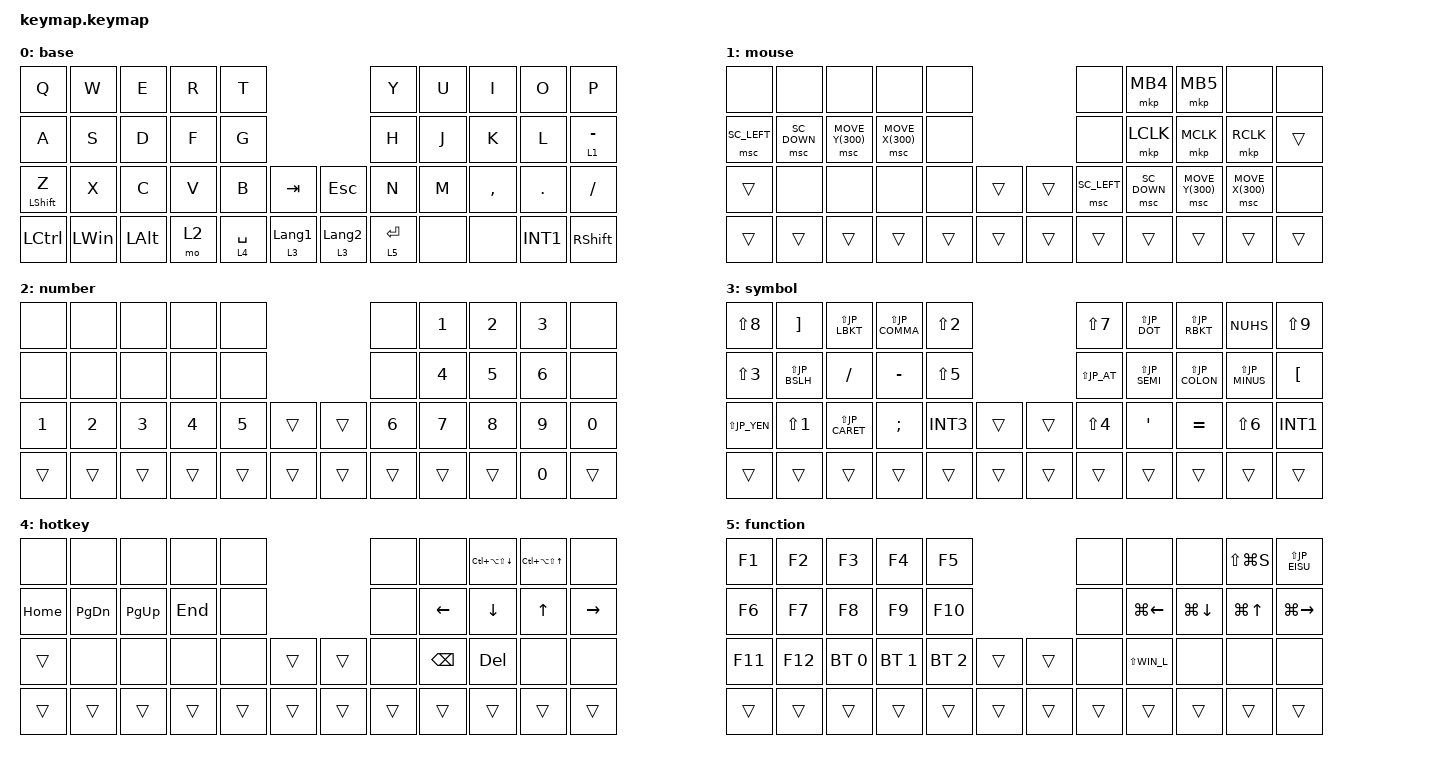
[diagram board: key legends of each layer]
#define JP_ZKHK  GRAVE        // Zenkaku ↔ Hankaku ↔ Kanji (半角 ↔ 全角 ↔ 漢字)
#define JP_MINUS MINUS        // -
#define JP_CARET EQUAL        // ^
#define JP_YEN   INT3         // ¥
#define JP_AT    LBKT         // @
#define JP_LBKT  RBKT         // [
#define JP_EISU  CAPS         // Eisū (英数)
#define JP_SEMI  SEMI         // ;
#define JP_COLON SQT          // :
#define JP_RBKT  NUHS         // ]
#define JP_COMMA COMMA        // ,
#define JP_DOT   DOT          // .
#define JP_SLASH SLASH        // /
#define JP_BSLH  INT1         // (backslash)
#define JP_MHEN  INT5         // Muhenkan (無変換)
#define JP_HENK  INT4         // Henkan (変換)
#define JP_KANA  INT2         // Katakana ↔ Hiragana ↔ Rōmaji (カタカナ ↔ ひらがな ↔ ローマ字)
#define JP_EXCL  LS(N1)       // !
#define JP_DQT   LS(N2)       // "
#define JP_HASH  LS(N3)       // #
#define JP_DLLR  LS(N4)       // $
#define JP_PRCNT LS(N5)       // %
#define JP_AMPS  LS(N6)       // &
#define JP_SQT   LS(N7)       // '
#define JP_LPAR  LS(N8)       // (
#define JP_RPAR  LS(N9)       // )
#define JP_EQUAL LS(JP_MINUS) // =
#define JP_TILDE LS(JP_CARET) // ~
#define JP_PIPE  LS(JP_YEN)   // |
#define JP_GRAVE LS(JP_AT)    // `
#define JP_LBRC  LS(JP_LBKT)  // {
#define JP_CAPS  LS(JP_EISU)  // Caps Lock
#define JP_PLUS  LS(JP_SEMI)  // +
#define JP_ASTRK LS(JP_COLON) // *
#define JP_RBRC  LS(JP_RBKT)  // }
#define JP_LT    LS(JP_COMMA) // <
#define JP_RT    LS(JP_DOT)   // >
#define JP_QMARK LS(JP_SLASH) // ?
#define JP_UNDER LS(JP_BSLH)  // _

#define SC_UP    MOVE_Y(300)
#define SC_DOWN  MOVE_Y(-300)
#define SC_RIGHT MOVE_X(300)
#define SC_LEFT  MOVE_X(-300)
#define MULCR_UP LC(LA(LS(UP)))
#define MULCR_DN LC(LA(LS(DOWN)))
#define WIN_L    LG(LEFT)
#define WIN_D    LG(DOWN)
#define WIN_U    LG(UP)
#define WIN_R    LG(RIGHT)
#define MOVE_WIN LS(WIN_L)
#define PRTSC    LS(LG(S))
#define LANG_JP  LANGUAGE_1
#define LANG_EN  LANGUAGE_2

#include <behaviors.dtsi>
#include <dt-bindings/zmk/bt.h>
#include <dt-bindings/zmk/keys.h>
#include <dt-bindings/zmk/pointing.h>

/ {
    behaviors {
        ls: ls {
            compatible = "zmk,behavior-hold-tap";
            #binding-cells = <2>;
            tapping-term-ms = <200>;
            quick-tap-ms = <125>;
            flavor = "tap-preferred";
            bindings = <&kp>, <&kp>;
        };
    };

    combos {
        compatible = "zmk,combos";

        right_finger_12 {
            timeout-ms = <50>;
            require-prior-idle-ms = <125>;
            key-positions = <16 17>;
            bindings = <&mkp LCLK>;
        };

        right_finger_34 {
            timeout-ms = <50>;
            require-prior-idle-ms = <125>;
            key-positions = <18 19>;
            bindings = <&mkp RCLK>;
        };

        // Bluetooth Clear
        bt_clear {
            timeout-ms = <50>;
            key-positions = <24 23 22>;
            bindings = <&bt BT_CLR>;
        };

    };

    keymap {
        compatible = "zmk,keymap";

        base {bindings = <
&kp Q         &kp W         &kp E         &kp R          &kp T                                       &kp Y         &kp U         &kp I         &kp O          &kp P
&kp A         &kp S         &kp D         &kp F          &kp G                                       &kp H         &kp J         &kp K         &kp L          &lt 1 JP_MINUS
&ls LSHFT Z   &kp X         &kp C         &kp V          &kp B         &kp TAB        &kp ESC        &kp N         &kp M         &kp JP_COMMA  &kp JP_DOT     &kp JP_SLASH
&kp LCTRL     &kp LWIN      &kp LALT      &mo 2          &lt 4 SPACE   &lt 3 LANG_JP  &lt 3 LANG_EN  &lt 5 ENTER   &none         &none         &kp JP_BSLH    &kp RSHFT    >;};

mouse {bindings = <
&none         &none         &none         &none          &none                                       &none         &mkp MB4      &mkp MB5      &none          &none 
&msc SC_LEFT  &msc SC_DOWN  &msc SC_UP    &msc SC_RIGHT  &none                                       &none         &mkp LCLK     &mkp MCLK     &mkp RCLK      &trans
&trans        &none         &none         &none          &none         &trans         &trans         &msc SC_LEFT  &msc SC_DOWN  &msc SC_UP    &msc SC_RIGHT  &none 
&trans        &trans        &trans        &trans         &trans        &trans         &trans         &trans        &trans        &trans        &trans         &trans       >;};

number {bindings = <
&none         &none         &none         &none          &none                                       &none         &kp N1        &kp N2        &kp N3         &none 
&none         &none         &none         &none          &none                                       &none         &kp N4        &kp N5        &kp N6         &none 
&kp N1        &kp N2        &kp N3        &kp N4         &kp N5        &trans         &trans         &kp N6        &kp N7        &kp N8        &kp N9         &kp N0
&trans        &trans        &trans        &trans         &trans        &trans         &trans         &trans        &trans        &trans        &kp N0         &trans       >;};

symbol {bindings = <
&kp JP_LPAR   &kp JP_LBKT   &kp JP_LBRC   &kp JP_LT      &kp JP_DQT                                  &kp JP_SQT    &kp JP_RT     &kp JP_RBRC   &kp JP_RBKT    &kp JP_RPAR
&kp JP_HASH   &kp JP_UNDER  &kp JP_SLASH  &kp JP_MINUS   &kp JP_PRCNT                                &kp JP_GRAVE  &kp JP_PLUS   &kp JP_ASTRK  &kp JP_EQUAL   &kp JP_AT
&kp JP_PIPE   &kp JP_EXCL   &kp JP_TILDE  &kp JP_SEMI    &kp JP_YEN    &trans         &trans         &kp JP_DLLR   &kp JP_COLON  &kp JP_CARET  &kp JP_AMPS    &kp JP_BSLH
&trans        &trans        &trans        &trans         &trans        &trans         &trans         &trans        &trans        &trans        &trans         &trans       >;};

hotkey {bindings = <
&none         &none         &none         &none          &none                                       &none         &none         &kp MULCR_DN  &kp MULCR_UP   &none 
&kp HOME      &kp PG_DN     &kp PG_UP     &kp END        &none                                       &none         &kp LEFT      &kp DOWN      &kp UP         &kp RIGHT
&trans        &none         &none         &none          &none         &trans         &trans         &none         &kp BSPC      &kp DEL       &none          &none 
&trans        &trans        &trans        &trans         &trans        &trans         &trans         &trans        &trans        &trans        &trans         &trans       >;};

function {bindings = <
&kp F1        &kp F2        &kp F3        &kp F4         &kp F5                                      &none         &none         &none         &kp PRTSC      &kp JP_CAPS
&kp F6        &kp F7        &kp F8        &kp F9         &kp F10                                     &none         &kp WIN_L     &kp WIN_D     &kp WIN_U      &kp WIN_R
&kp F11       &kp F12       &bt BT_SEL 0  &bt BT_SEL 1   &bt BT_SEL 2  &trans         &trans         &none         &kp MOVE_WIN  &none         &none          &none 
&trans        &trans        &trans        &trans         &trans        &trans         &trans         &trans        &trans        &trans        &trans         &trans       >;};
    };
};
